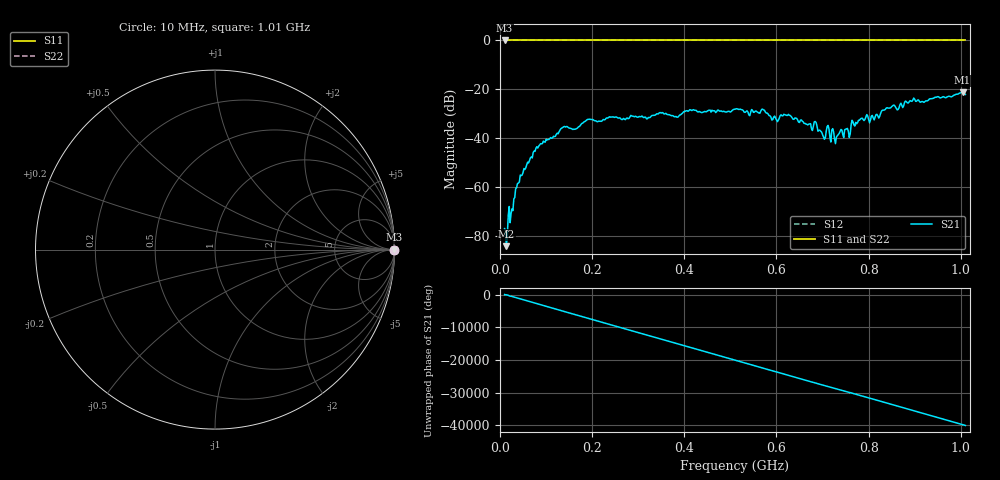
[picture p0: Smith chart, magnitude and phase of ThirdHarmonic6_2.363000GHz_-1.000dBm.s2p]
! 8/17/2025 3:38:45 AM
! C:\ANRITSUVNA\TEMP\TEMP.S2P
! CHANNEL.1
! TR.MEASUREMENT
! RAW.DATA
! RF.CORRECTION.OFF
! AVERAGING.OFF
! IF.BANDWIDTH: 5KHZ
! SWEEPTYPE:  FREQ.SWEEP(Linear)
! Reference Plane Port Info
! PORT:  PORT1  PORT2
! DISTANCE:  0  m  0  m
! TIME:  0  s  0  s
! PHASE.OFFSET:  0  deg.  0  deg.
! LOSS:  0  dB  0  dB
! REF.LOSS:  0  dB  0  dB
! REF.FREQ:  0  Hz  0  Hz
! Power Info
! POWER:  -20  dBm  -20  dBm
! EFF.POWER:  -20  dBm  -20  dBm
! SOURCE.ATTEN:  0  dB  0  dB
! TEST.ATTEN:  0  dB  0  dB
# GHZ S RI R 50.0
! FREQ.GHZ  S11RE  S11IM  S21RE  S21IM  S12RE  S12IM  S22RE  S22IM
!; PortSelection: Port_12
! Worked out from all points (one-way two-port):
!   501 points, 10 MHz to 1.01 GHz, reference 50 ohm
!   highest |S21| = -21.16 dB at 1.004 GHz (marker M1); lowest = -84.0 dB at 14 MHz (marker M2)
!   lowest |S11| = 0.0 dB at 10 MHz (marker M3)
!   |S11| at or under -10 dB: nowhere
!   |S22| runs from 0.0 to 0.0 dB; largest |S21 - S12| = 1.1
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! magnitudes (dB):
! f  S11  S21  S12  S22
! 10 MHz  0.0  -76.8  0.0  0.0
! 14 MHz  0.0  -84.0  0.0  0.0
! 40 MHz  0.0  -58.2  0.0  0.0
! 76 MHz  0.0  -45.3  0.0  0.0
! 136 MHz  0.0  -35.6  0.0  0.0
! 178 MHz  0.0  -33.8  0.0  0.0
! 344 MHz  0.0  -29.9  0.0  0.0
! 382 MHz  0.0  -31.0  0.0  0.0
! 416 MHz  0.0  -28.6  0.0  0.0
! 510 MHz  0.0  -28.1  0.0  0.0
! 570 MHz  0.0  -28.1  0.0  0.0
! 602 MHz  0.0  -33.2  0.0  0.0
! 626 MHz  0.0  -30.2  0.0  0.0
! 678 MHz  0.0  -36.8  0.0  0.0
! 684 MHz  0.0  -33.1  0.0  0.0
! 702 MHz  0.0  -39.4  0.0  0.0
! 712 MHz  0.0  -34.7  0.0  0.0
! 730 MHz  0.0  -39.5  0.0  0.0
! 782 MHz  0.0  -32.1  0.0  0.0
! 844 MHz  0.0  -27.6  0.0  0.0
! 1.004 GHz  0.0  -21.2  0.0  0.0
! 1.01 GHz  0.0  -22.1  0.0  0.0
